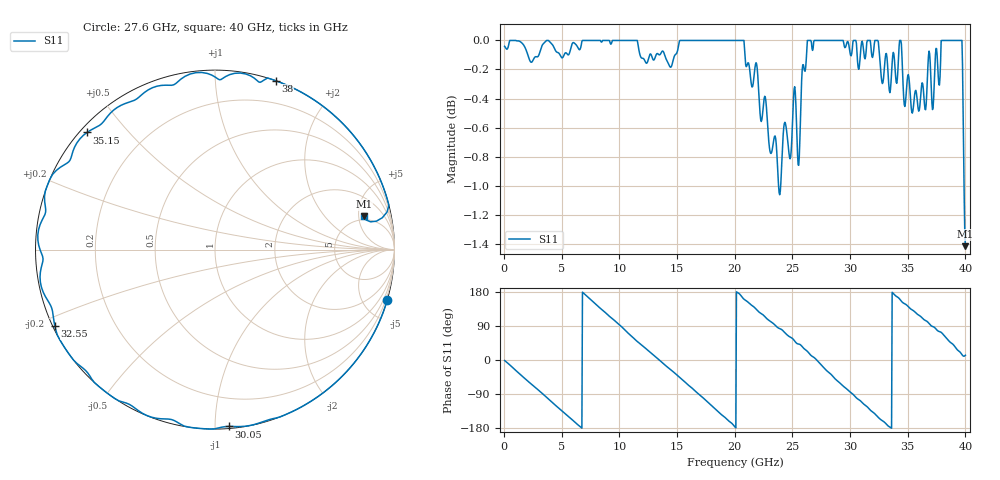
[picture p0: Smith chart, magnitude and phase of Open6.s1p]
! C:\Work\SPARQ2\Technical\Relays\Open6.s1p
! Tue Aug  7 09:43:14 2018
!!Measured using LeCroy SPARQ LCRY2401N02001
!SingleEnded
! freq S11
# MHz S MA R 50.00
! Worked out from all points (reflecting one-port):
!   800 points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, 50 MHz to 40 GHz, reference 50 ohm
!   lowest |S11| = -1.4 dB at 40 GHz (marker M1), VSWR 12.28, Z = 219 + j291 ohm
!   phase of S11 starts at -1 deg and turns -1066 deg over the sweep
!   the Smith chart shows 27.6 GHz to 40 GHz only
!   S11 on the Smith chart (normalised r, x): 27.6 GHz: -0.00, -7.03; 30.05 GHz: 0.01, -1.08; 32.55 GHz: 0.01, -0.23; 35.15 GHz: 0.02, +0.39; 38 GHz: 0.00, +1.42; 40 GHz: 4.38, +5.83
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50  0.9954 -1.4
1250  0.9997 -33.8
2800  0.9872 -74.7
5050  0.9863 -135.0
7350  1 163.7
8850  1 123.3
10050  1 91.7
11150  1 60.3
12700  0.9894 19.9
15050  0.9921 -40.8
17400  1 -103.8
18750  1 -141.8
20050  1 -177.6
22650  0.9561 113.3
25050  0.9457 55.5
26500  1 15.7
27600  1 -16.2
28850  1 -53.7
30050  0.9882 -85.5
31350  0.9874 -120.0
32550  0.9887 -154.5
33800  0.9893 173.6
35050  0.9733 140.7
35150  0.9666 137.5
36800  0.988 98.1
38000  1 70.2
39300  1 26.8
40000  0.8494 12.6
